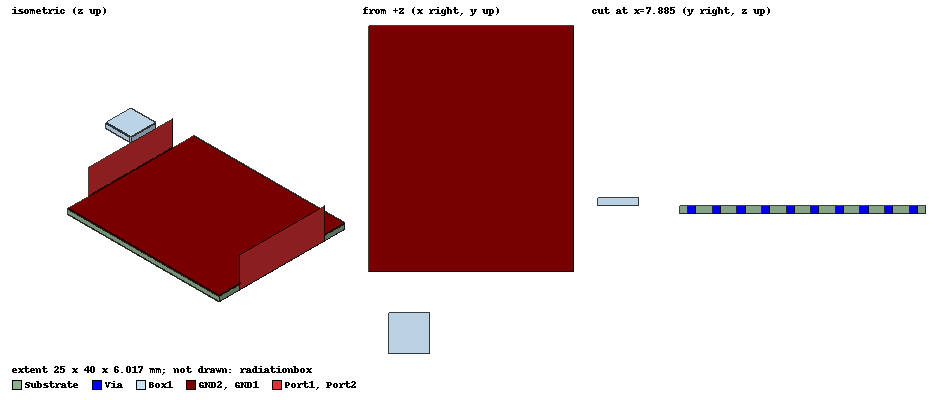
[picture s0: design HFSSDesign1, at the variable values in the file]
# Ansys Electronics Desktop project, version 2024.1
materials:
  vacuum: permittivity=1
  Rogers RT/duroid 5880 (tm): permittivity=2.2 dielectric_loss_tangent=0.0009
  copper: permeability=0.999991 conductivity=58000000
  air: permittivity=1.0006 permeability=1.0000004

design HFSSDesign1 (HFSS, HFSS Terminal Network, model units mm)
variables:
  Sw = 25mm  # Substrate width in X
  Sl = 30mm  # Substrate Length in y
  Sh = 1mm  # Substrate Height
  Ct = 0.017mm  # Copper Clading
  Ar = 15.77mm  # Centre to center via sepretion
  Vd = 1mm  # Via Diameter
  Pitch = 3mm  # Pitch b/w Two via
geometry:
  Substrate [Rogers RT/duroid 5880 (tm)] = box(corner=(-Sw/2, -Sl/2, 0mm), size=(Sw, Sl, -Sh))
  GND1 [copper] = box(corner=(-Sw/2, -Sl/2, 0mm), size=(Sw, Sl, Ct))
  GND2 [copper] = box(corner=(-Sw/2, -Sl/2, -Sh), size=(Sw, Sl, -Ct))
  Via [copper] = cylinder(axis=Z, base_centre=(Ar /2, -(Sl/2-Vd/2-1 mm), 0mm), radius=-Vd/2, height=-Sh)
  Via.duplicate_along_line(step=(0mm, Pitch, 0mm), total=10, attached)
  Via_1 [copper] = Via.duplicate_mirror(point=(0mm, -26mm, 0mm), normal=(1mm, 0mm, 0mm))
  Port1 = rectangle(corner=(-Ar/2-0.5mm, 15mm, -Sh), z_size=Sh*6, x_size=Ar+1mm)
  Port2 = rectangle(corner=(-Ar/2-0.5mm, -15mm, -Sh), z_size=Sh*6, x_size=Ar+1mm)
  radiationbox [air] = box(corner=(-Sw/2-5mm, -Sl/2, -Sh-Ct), size=(Sw+10mm, Sl, 16mm))
  Box1 [vacuum] = box(corner=(-10mm, -25mm, 0mm), size=(5mm, 5mm, 1mm))
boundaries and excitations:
  Rad1: Radiation Objects=radiationbox
  1: Lumped Port Objects=Port1 LumpedPortType=Modal Modes{Mode1{IntLine{(0, 15, -1) -> (0, 15, 5)} CharImp=Zpi RenormImp=50ohm}} Impedance=50ohm
  2: Lumped Port Objects=Port2 LumpedPortType=Modal Modes{Mode1{IntLine{(0, -15, -1) -> (0, -15, 5)} CharImp=Zpi RenormImp=50ohm}} Impedance=50ohm
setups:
  Setup1: HfssDriven Frequency=10GHz MaxDeltaS=0.02 MaximumPasses=12 MinimumPasses=1 MinimumConvergedPasses=1 PercentRefinement=30 BasisOrder=1 PortAccuracy=2 DrivenSolverType="Direct Solver"
    sweep Sweep: 6GHz to 14GHz, 401 points; Type=Interpolating InterpTolerance=0.5 InterpMaxSolns=250 PassivityErrorTolerance=0.0001
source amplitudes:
  1:1: 1V 0deg
  2:1: 0V 0deg
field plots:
  Mag_E2: E Field in Substrate on Setup1 : LastAdaptive at Freq=10GHz Phase=0deg
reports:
  Terminal S Parameter Plot1: dB(St(1,1)), dB(St(2,1)) vs Freq on Setup1 : Sweep
